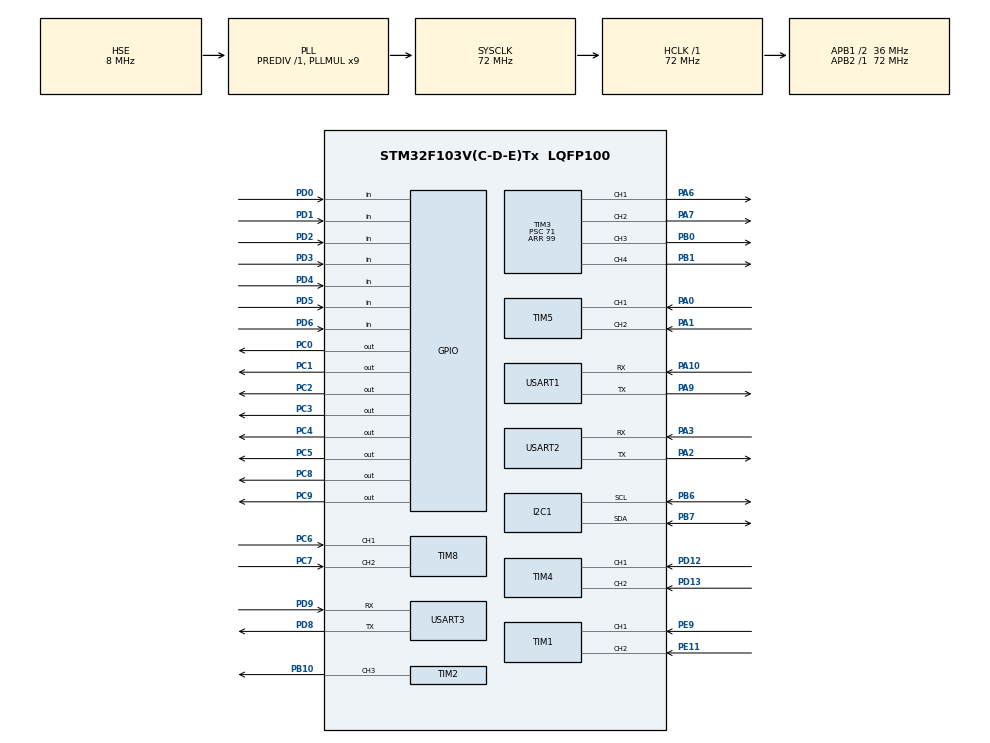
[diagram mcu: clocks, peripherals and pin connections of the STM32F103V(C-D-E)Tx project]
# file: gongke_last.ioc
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Mcu.Family=STM32F1
Mcu.Name=STM32F103V(C-D-E)Tx
Mcu.Package=LQFP100
NVIC.PriorityGroup=NVIC_PRIORITYGROUP_4
NVIC.TIM6_IRQn=true\:0\:0\:false\:false\:true\:true\:true
NVIC.USART1_IRQn=true\:0\:0\:false\:false\:true\:true\:true
OSC_IN.Mode=HSE-External-Oscillator
OSC_IN.Signal=RCC_OSC_IN
OSC_OUT.Mode=HSE-External-Oscillator
OSC_OUT.Signal=RCC_OSC_OUT
PA0-WKUP.Signal=S_TIM5_CH1
PA1.Signal=S_TIM5_CH2
PA10.Mode=Asynchronous
PA10.Signal=USART1_RX
PA13.Mode=Serial_Wire
PA13.Signal=SYS_JTMS-SWDIO
PA14.Mode=Serial_Wire
PA14.Signal=SYS_JTCK-SWCLK
PA2.Mode=Asynchronous
PA2.Signal=USART2_TX
PA3.Mode=Asynchronous
PA3.Signal=USART2_RX
PA6.Signal=S_TIM3_CH1
PA7.Signal=S_TIM3_CH2
PA9.Mode=Asynchronous
PA9.Signal=USART1_TX
PB0.Signal=S_TIM3_CH3
PB1.Signal=S_TIM3_CH4
PB10.Signal=S_TIM2_CH3
PB6.Mode=I2C
PB6.Signal=I2C1_SCL
PB7.Mode=I2C
PB7.Signal=I2C1_SDA
PC0.Signal=GPIO_Output
PC1.Signal=GPIO_Output
PC14-OSC32_IN.Mode=LSE-External-Oscillator
PC14-OSC32_IN.Signal=RCC_OSC32_IN
PC15-OSC32_OUT.Mode=LSE-External-Oscillator
PC15-OSC32_OUT.Signal=RCC_OSC32_OUT
PC2.Signal=GPIO_Output
PC3.Signal=GPIO_Output
PC4.Signal=GPIO_Output
PC5.Signal=GPIO_Output
PC6.Signal=S_TIM8_CH1
PC7.Signal=S_TIM8_CH2
PC8.Signal=GPIO_Output
PC9.Signal=GPIO_Output
PD0.GPIO_PuPd=GPIO_PULLDOWN
PD0.Signal=GPIO_Input
PD1.GPIO_PuPd=GPIO_PULLDOWN
PD1.Signal=GPIO_Input
PD12.Signal=S_TIM4_CH1
PD13.Signal=S_TIM4_CH2
PD2.GPIO_PuPd=GPIO_PULLDOWN
PD2.Signal=GPIO_Input
PD3.Signal=GPIO_Input
PD4.GPIO_PuPd=GPIO_PULLDOWN
PD4.Signal=GPIO_Input
PD5.GPIO_PuPd=GPIO_PULLDOWN
PD5.Signal=GPIO_Input
PD6.GPIO_PuPd=GPIO_PULLDOWN
PD6.Signal=GPIO_Input
PD8.Mode=Asynchronous
PD8.Signal=USART3_TX
PD9.Mode=Asynchronous
PD9.Signal=USART3_RX
PE11.Signal=S_TIM1_CH2
PE9.Signal=S_TIM1_CH1
ProjectManager.HeapSize=0x200
ProjectManager.StackSize=0x400
ProjectManager.TargetToolchain=MDK-ARM V5
RCC.AHBFreq_Value=72000000
RCC.APB1CLKDivider=RCC_HCLK_DIV2
RCC.APB1Freq_Value=36000000
RCC.APB1TimFreq_Value=72000000
RCC.APB2Freq_Value=72000000
RCC.APB2TimFreq_Value=72000000
RCC.HCLKFreq_Value=72000000
RCC.PLLMUL=RCC_PLL_MUL9
RCC.PLLSourceVirtual=RCC_PLLSOURCE_HSE
RCC.SYSCLKFreq_VALUE=72000000
RCC.SYSCLKSource=RCC_SYSCLKSOURCE_PLLCLK
RCC.USBFreq_Value=72000000
SH.S_TIM1_CH1.0=TIM1_CH1,Encoder_Interface
SH.S_TIM1_CH2.0=TIM1_CH2,Encoder_Interface
SH.S_TIM2_CH3.0=TIM2_CH3,PWM Generation3 CH3
SH.S_TIM3_CH1.0=TIM3_CH1,PWM Generation1 CH1
SH.S_TIM3_CH2.0=TIM3_CH2,PWM Generation2 CH2
SH.S_TIM3_CH3.0=TIM3_CH3,PWM Generation3 CH3
SH.S_TIM3_CH4.0=TIM3_CH4,PWM Generation4 CH4
SH.S_TIM4_CH1.0=TIM4_CH1,Encoder_Interface
SH.S_TIM4_CH2.0=TIM4_CH2,Encoder_Interface
SH.S_TIM5_CH1.0=TIM5_CH1,Encoder_Interface
SH.S_TIM5_CH2.0=TIM5_CH2,Encoder_Interface
SH.S_TIM8_CH1.0=TIM8_CH1,Encoder_Interface
SH.S_TIM8_CH2.0=TIM8_CH2,Encoder_Interface
TIM1.EncoderMode=TIM_ENCODERMODE_TI12
TIM2.Channel-PWM\ Generation3\ CH3=TIM_CHANNEL_3
TIM2.OCPolarity_3=TIM_OCPOLARITY_HIGH
TIM2.Period=19999
TIM2.Prescaler=71
TIM2.Pulse-PWM\ Generation3\ CH3=195
TIM3.Channel-PWM\ Generation1\ CH1=TIM_CHANNEL_1
TIM3.Channel-PWM\ Generation2\ CH2=TIM_CHANNEL_2
TIM3.Channel-PWM\ Generation3\ CH3=TIM_CHANNEL_3
TIM3.Channel-PWM\ Generation4\ CH4=TIM_CHANNEL_4
TIM3.Period=99
TIM3.Prescaler=71
TIM4.EncoderMode=TIM_ENCODERMODE_TI12
TIM5.EncoderMode=TIM_ENCODERMODE_TI12
TIM6.AutoReloadPreload=TIM_AUTORELOAD_PRELOAD_DISABLE
TIM6.Period=999
TIM6.Prescaler=71
TIM8.EncoderMode=TIM_ENCODERMODE_TI12
USART1.VirtualMode=VM_ASYNC
USART2.VirtualMode=VM_ASYNC
USART3.VirtualMode=VM_ASYNC
VP_TIM6_VS_ClockSourceINT.Mode=Enable_Timer
board=custom

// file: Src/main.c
/* USER CODE BEGIN Header */
/**
  ******************************************************************************
  * @file           : main.c
  * @brief          : Main program body
  ******************************************************************************
  * @attention
  *
  * <h2><center>&copy; Copyright (c) 2022 STMicroelectronics.
  * All rights reserved.</center></h2>
  *
  * This software component is licensed by ST under BSD 3-Clause license,
  * the "License"; You may not use this file except in compliance with the
  * License. You may obtain a copy of the License at:
  *                        opensource.org/licenses/BSD-3-Clause
  *
  ******************************************************************************
  */
/* USER CODE END Header */
#include "main.h"
#include "i2c.h"
#include "tim.h"
#include "usart.h"
#include "gpio.h"

/* USER CODE BEGIN Includes */
#include "encoder.h"
#include "Tracing.h"
#include "Machinery.h"
/* USER CODE END Includes */

void SystemClock_Config(void);

/* USER CODE BEGIN 0 */
extern int iTempTim1Encoder;
int iTempTim4Encoder;
int iTempTim5Encoder;
int iTempTim8Encoder;
uint8_t Rx_dat =0;
int a=0;
int number =1200;

void HAL_UART_RxCpltCallback(UART_HandleTypeDef *huart)
{
	if(huart->Instance == USART1)
	{
		if(Rx_dat==(49))
		{
			a=99;
			number=0;

		}
		else if(Rx_dat==(50))
		{
			a=6;

		}
	}
	HAL_UART_Receive_IT(&huart1,&Rx_dat,1);
}

/* USER CODE END 0 */

int main(void)
{

  /* MCU Configuration--------------------------------------------------------*/

  /* Reset of all peripherals, Initializes the Flash interface and the Systick. */
  HAL_Init();

  /* Configure the system clock */
  SystemClock_Config();

  /* Initialize all configured peripherals */
  MX_GPIO_Init();
  MX_TIM1_Init();
  MX_TIM3_Init();
  MX_USART1_UART_Init();
  MX_TIM4_Init();
  MX_TIM5_Init();
  MX_TIM8_Init();
  MX_TIM2_Init();
  MX_TIM6_Init();
  MX_I2C1_Init();
  MX_USART2_UART_Init();
  MX_USART3_UART_Init();
  /* USER CODE BEGIN 2 */

	HAL_TIM_Encoder_Start(&htim1, TIM_CHANNEL_ALL);//开启TIM1的编码器接口模式 左下电机
	HAL_TIM_Encoder_Start(&htim4, TIM_CHANNEL_ALL);//开启TIM4的编码器接口模式 右下电机
	HAL_TIM_Encoder_Start(&htim5, TIM_CHANNEL_ALL);//开启TIM5的编码器接口模式 左上电机
	HAL_TIM_Encoder_Start(&htim8, TIM_CHANNEL_ALL);//开启TIM8的编码器接口模式 右上电机

	HAL_TIM_PWM_Start(&htim3,TIM_CHANNEL_1);//开启TIM3_CH1的PWM输出
	HAL_GPIO_WritePin(GPIOC,GPIO_PIN_4,GPIO_PIN_SET);//初始化BIN1引脚为低电平
	HAL_GPIO_WritePin(GPIOC,GPIO_PIN_5,GPIO_PIN_RESET);//初始化BIN2引脚为高电平

	HAL_TIM_PWM_Start(&htim3,TIM_CHANNEL_2);//开启TIM3_CH2的PWM输出
	HAL_GPIO_WritePin(GPIOC,GPIO_PIN_8,GPIO_PIN_RESET);//初始化BIN1引脚为高电平
	HAL_GPIO_WritePin(GPIOC,GPIO_PIN_9,GPIO_PIN_SET);//初始化BIN2引脚为低电?

	HAL_TIM_PWM_Start(&htim3,TIM_CHANNEL_3);//开启TIM3_CH3的PWM输出
	HAL_GPIO_WritePin(GPIOC,GPIO_PIN_1,GPIO_PIN_SET);//初始化BIN1引脚为低电平
	HAL_GPIO_WritePin(GPIOC,GPIO_PIN_0,GPIO_PIN_RESET);//初始化BIN2引脚为高电平

	HAL_TIM_PWM_Start(&htim3,TIM_CHANNEL_4);//开启TIM3_CH4的PWM输出
	HAL_GPIO_WritePin(GPIOC,GPIO_PIN_2,GPIO_PIN_SET);//初始化BIN1引脚为低电平
	HAL_GPIO_WritePin(GPIOC,GPIO_PIN_3,GPIO_PIN_RESET);//初始化BIN2引脚为高电?
	HAL_TIM_Base_Start_IT(&htim6);
	HAL_TIM_PWM_Start(&htim2,TIM_CHANNEL_3);//PWM初始化
	HAL_UART_Receive_IT(&huart1,&Rx_dat,1);

	__HAL_TIM_SET_COMPARE(&htim3, TIM_CHANNEL_4, 25);
  __HAL_TIM_SET_COMPARE(&htim3, TIM_CHANNEL_3, 25);

  /* USER CODE END 2 */

  /* Infinite loop */
  while (1)
  {

	}
}

void SystemClock_Config(void)
{
  RCC_OscInitTypeDef RCC_OscInitStruct = {0};
  RCC_ClkInitTypeDef RCC_ClkInitStruct = {0};

  /** Initializes the RCC Oscillators according to the specified parameters
  * in the RCC_OscInitTypeDef structure.
  */
  RCC_OscInitStruct.OscillatorType = RCC_OSCILLATORTYPE_HSE;
  RCC_OscInitStruct.HSEState = RCC_HSE_ON;
  RCC_OscInitStruct.HSEPredivValue = RCC_HSE_PREDIV_DIV1;
  RCC_OscInitStruct.HSIState = RCC_HSI_ON;
  RCC_OscInitStruct.PLL.PLLState = RCC_PLL_ON;
  RCC_OscInitStruct.PLL.PLLSource = RCC_PLLSOURCE_HSE;
  RCC_OscInitStruct.PLL.PLLMUL = RCC_PLL_MUL9;
  if (HAL_RCC_OscConfig(&RCC_OscInitStruct) != HAL_OK)
  {
    Error_Handler();
  }
  /** Initializes the CPU, AHB and APB buses clocks
  */
  RCC_ClkInitStruct.ClockType = RCC_CLOCKTYPE_HCLK|RCC_CLOCKTYPE_SYSCLK
                              |RCC_CLOCKTYPE_PCLK1|RCC_CLOCKTYPE_PCLK2;
  RCC_ClkInitStruct.SYSCLKSource = RCC_SYSCLKSOURCE_PLLCLK;
  RCC_ClkInitStruct.AHBCLKDivider = RCC_SYSCLK_DIV1;
  RCC_ClkInitStruct.APB1CLKDivider = RCC_HCLK_DIV2;
  RCC_ClkInitStruct.APB2CLKDivider = RCC_HCLK_DIV1;

  if (HAL_RCC_ClockConfig(&RCC_ClkInitStruct, FLASH_LATENCY_2) != HAL_OK)
  {
    Error_Handler();
  }
}

void Error_Handler(void)
{
  __disable_irq();
  while (1)
  {
  }
}

/************************ (C) COPYRIGHT STMicroelectronics *****END OF FILE****/
